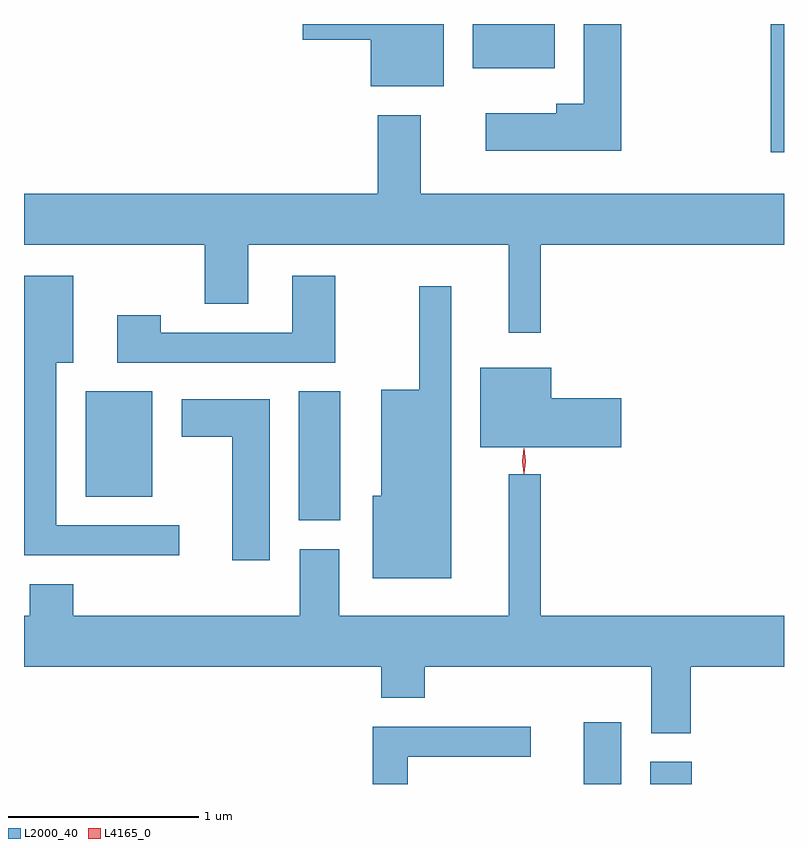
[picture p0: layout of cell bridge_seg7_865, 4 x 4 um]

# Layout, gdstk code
import gdstk
lib = gdstk.Library(unit=1e-6, precision=1e-09)
def R(c, l, rs):  # rectangles x0, y0, x1, y1
    for r in rs: c.add(gdstk.rectangle(r[:2], r[2:], *l))
def P(c, l, *ps):  # polygons
    for p in ps: c.add(gdstk.Polygon(p, *l))
L2000_40 = (2000, 40)
L4165_0 = (4165, 0)

bridge_seg7_865 = lib.new_cell('bridge_seg7_865')
R(bridge_seg7_865, L2000_40, [(258.586,1687.058,258.784,1687.384), (258.936,1687.058,259.154,1687.174), (257.086,1688.446,257.304,1689.124), (255.966,1688.571,256.314,1689.124), (259.571,1690.383,259.64,1691.058), (258.001,1690.826,258.434,1691.058)])
P(bridge_seg7_865, L2000_40, [(257.849,1691.058),(257.106,1691.058),(257.106,1690.976),(257.466,1690.976),(257.466,1690.731),(257.849,1690.731)],
  [(258.784,1691.058),(258.586,1691.058),(258.586,1690.639),(258.441,1690.639),(258.441,1690.589),(258.071,1690.589),(258.071,1690.391),(258.784,1690.391)],
  [(258.359,1689.896),(259.64,1689.896),(259.64,1690.164),(257.729,1690.164),(257.729,1690.579),(257.501,1690.579),(257.501,1690.164),(255.64,1690.164),(255.64,1689.896),(256.591,1689.896),(256.591,1689.586),(256.819,1689.586),(256.819,1689.896),(258.191,1689.896),(258.191,1689.433),(258.359,1689.433)],
  [(256.457,1688.419),(255.809,1688.419),(255.809,1689.276),(255.899,1689.276),(255.899,1689.734),(255.64,1689.734),(255.64,1688.261),(256.457,1688.261)],
  [(257.279,1689.734),(257.051,1689.734),(257.051,1689.434),(256.359,1689.434),(256.359,1689.524),(256.131,1689.524),(256.131,1689.276),(257.279,1689.276)],
  [(257.889,1689.678),(257.721,1689.678),(257.721,1689.134),(257.521,1689.134),(257.521,1688.574),(257.476,1688.574),(257.476,1688.141),(257.889,1688.141)],
  [(258.784,1689.089),(258.414,1689.089),(258.414,1689.249),(258.041,1689.249),(258.041,1688.831),(258.784,1688.831)],
  [(256.934,1689.084),(256.471,1689.084),(256.471,1688.886),(256.736,1688.886),(256.736,1688.236),(256.934,1688.236)],
  [(259.149,1687.676),(259.64,1687.676),(259.64,1687.944),(258.359,1687.944),(258.359,1688.688),(258.191,1688.688),(258.191,1687.944),(257.299,1687.944),(257.299,1688.294),(257.091,1688.294),(257.091,1687.944),(255.899,1687.944),(255.899,1688.109),(255.671,1688.109),(255.671,1687.944),(255.64,1687.944),(255.64,1687.676),(257.521,1687.676),(257.521,1687.511),(257.749,1687.511),(257.749,1687.676),(258.941,1687.676),(258.941,1687.326),(259.149,1687.326)],
  [(257.659,1687.201),(258.308,1687.201),(258.308,1687.359),(257.476,1687.359),(257.476,1687.058),(257.659,1687.058)])
P(bridge_seg7_865, L4165_0, [(258.272,1688.693),(258.271,1688.694),(258.262,1688.756),(258.271,1688.819),(258.271,1688.82),(258.272,1688.819),(258.282,1688.756),(258.272,1688.694)],
  [(258.271,1688.69),(258.262,1688.758),(258.271,1688.826),(258.271,1688.826),(258.272,1688.826),(258.281,1688.758),(258.272,1688.69),(258.272,1688.69)])

lib.write_gds('bridge_seg7_865.gds')
